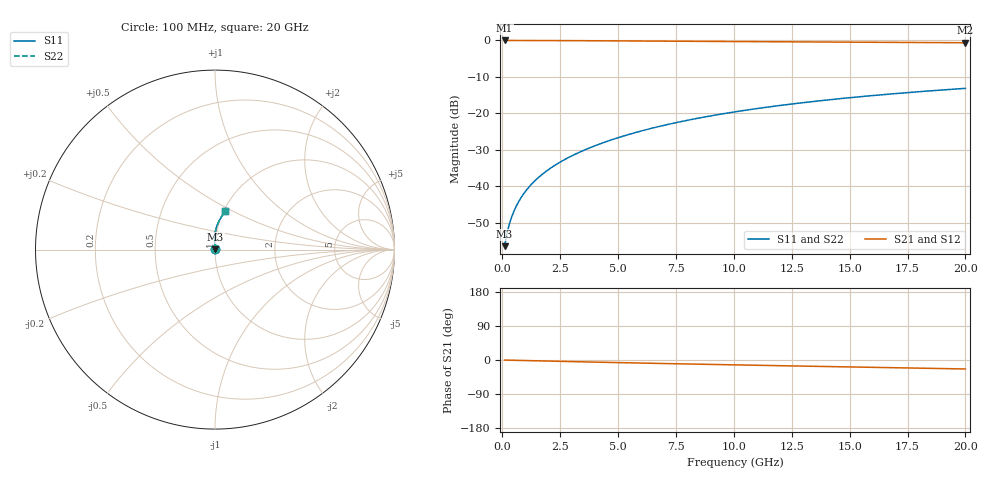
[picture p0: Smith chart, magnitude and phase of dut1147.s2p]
! Touchstone file exported from HFSS 2024.1.0
!  File:  C:/UserFiles/LocalFiles/RDL_TSV_Batchsim/temp_RDL_bottom_1147_1780055888.aedt
!  Generated:  08:00:22 PM May 29, 2026
!  Design:  RDL_bottom
!  Project:  temp_RDL_bottom_1147_1780055888
!  Setup:  Setup1
!  Solution:  Sweep
! Variables:
!  dtsv = 10.80580581um
!  hbump = 3um
!  htsv = 55.97um
!  ldown = 331.79um
!  lrdl = 100um
!  p = 40
!  p1 = 52.7um
!  rhole = 1um
!  t = 450um
!  tdown = 4.41um
!  trdl = 3.915915916um
!  wdown = 27.43um
!  wrdl = 20um
# GHz S MA R 50.000000
! Terminal data exported
! Port[1] = RDL1_T1
! Port[2] = RDL1_T2
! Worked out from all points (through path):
!   200 points, 100 MHz to 20 GHz, reference 50 ohm
!   highest |S21| = -0.01 dB at 100 MHz (marker M1); lowest = -0.6 dB at 20 GHz (marker M2)
!   group delay of S21, straight-line fit = 3.23 ps
!   lowest |S11| = -56.4 dB at 100 MHz (marker M3), VSWR 1.00, Z = 50.1 + j0.0957 ohm
!   |S11| at or under -10 dB: start of sweep to end of sweep
!   |S22| runs from -56.4 to -13.1 dB; largest |S21 - S12| = 2.7e-15
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0.1  0.001515 39.0  0.9988 -0.2  0.9988 -0.2  0.001515 39.0
! Gamma 0 0 0 0
! Port Impedance 50 0 50 0
0.2  0.002237 55.8  0.9987 -0.3  0.9987 -0.3  0.002237 55.8
0.3  0.003004 63.8  0.9986 -0.4  0.9986 -0.4  0.003004 63.8
0.4  0.003774 68.8  0.9985 -0.6  0.9985 -0.6  0.003774 68.8
0.5  0.004549 72.3  0.9984 -0.7  0.9984 -0.7  0.004548 72.3
0.6  0.005331 75.0  0.9983 -0.9  0.9983 -0.9  0.005331 75.0
0.8  0.006922 78.8  0.9981 -1.2  0.9981 -1.2  0.006922 78.8
1.1  0.009366 82.5  0.9977 -1.6  0.9977 -1.6  0.009366 82.5
1.5  0.01272 85.6  0.997 -2.2  0.997 -2.2  0.01272 85.6
2.1  0.01792 88.4  0.9956 -3.0  0.9956 -3.0  0.01792 88.4
2.7  0.02336 90.2  0.994 -3.9  0.994 -3.9  0.02336 90.2
3.5  0.03098 91.6  0.9913 -4.9  0.9913 -4.9  0.03098 91.6
4.2  0.03801 92.3  0.9887 -5.9  0.9887 -5.9  0.03801 92.3
5  0.04642 92.6  0.9854 -6.9  0.9854 -6.9  0.04643 92.6
5.9  0.0563 92.4  0.9817 -8.0  0.9817 -8.0  0.05631 92.4
6.8  0.06653 91.9  0.978 -9.1  0.978 -9.1  0.06654 91.9
8.4  0.0853 90.4  0.9714 -11.0  0.9714 -11.0  0.08532 90.4
10.1  0.1057 88.3  0.9648 -12.9  0.9648 -12.9  0.1057 88.3
11.7  0.1249 86.1  0.9588 -14.7  0.9588 -14.7  0.1249 86.2
13.4  0.1452 83.8  0.9527 -16.6  0.9527 -16.6  0.1452 83.8
16.7  0.1836 79.2  0.941 -20.2  0.941 -20.2  0.1837 79.2
20  0.2204 74.8  0.9292 -23.7  0.9292 -23.7  0.2204 74.8
